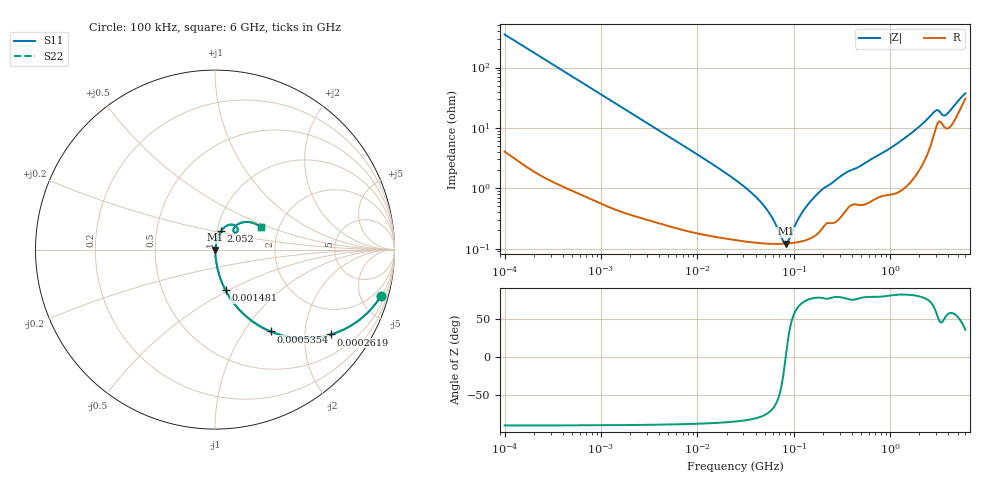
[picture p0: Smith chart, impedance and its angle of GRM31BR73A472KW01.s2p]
!Murata Part Number: GRM31BR73A472KW01
!These Parameters are Measured in Series Mode Connection
!Data Generated on Mar 30, 2021
!  o--ll--o
!Port1  Port2
!  o------o
!Operation Temp=25[degC], DC Bias Voltage=0[V]
!Freq. Start=100[kHz] Stop=6[GHz] 401[Steps]
# Hz S RI R 50
!Freq.(Hz) S11(Real) S11(Imag) S21(Real) S21(Imag) S12(Real) S12(Imag) S22(Real) S22(Imag)
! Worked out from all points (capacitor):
!   401 points, 100 kHz to 6 GHz, reference 50 ohm
!   read as one part in series: C = 4.5 nF near 105.7 kHz
!   lowest |Z| = 121 mohm at 82.16 MHz (marker M1)
!   series resonance near 82.22 MHz, so ESL is about 830 pH
!   S11 on the Smith chart (normalised r, x): 100 kHz: 1.08, -7.06; 261.9 kHz: 1.03, -2.71; 535.4 kHz: 1.02, -1.33; 1.481 MHz: 1.01, -0.48; 2.052 GHz: 1.04, +0.21; 6 GHz: 1.61, +0.44
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100000  0.9232 -0.2606  0.0768 0.2606  0.0768 0.2606  0.9232 -0.2606
164065  0.8207 -0.3782  0.1793 0.3782  0.1793 0.3782  0.8207 -0.3782
261871  0.6462 -0.4727  0.3538 0.4727  0.3538 0.4727  0.6462 -0.4727
535387  0.3096 -0.4559  0.6904 0.4559  0.6904 0.4559  0.3096 -0.4559
631452  0.2452 -0.4235  0.7548 0.4235  0.7548 0.4235  0.2452 -0.4235
1481314  0.0591 -0.2271  0.9409 0.2271  0.9409 0.2271  0.0591 -0.2271
3987316  0.0107 -0.0895  0.9893 0.0895  0.9893 0.0895  0.0107 -0.0895
2.517799e7  0.00155 -0.0133  0.9984 0.0133  0.9984 0.0133  0.00155 -0.0133
4.872031e7  0.00124 -0.005  0.9988 0.005  0.9988 0.005  0.00124 -0.005
6.07118e7  0.0012 -0.00282  0.9988 0.00282  0.9988 0.00282  0.0012 -0.00282
7.776452e7  0.0012 -0.000512  0.9988 0.000512  0.9988 0.000512  0.0012 -0.000512
8.216224e7  0.00121 -6.3e-06  0.9988 6.3e-06  0.9988 6.3e-06  0.00121 -6.3e-06
8.922949e7  0.00122 0.000754  0.9988 -0.000754  0.9988 -0.000754  0.00122 0.000754
1.174795e8  0.00131 0.00338  0.9987 -0.00338  0.9987 -0.00338  0.00131 0.00338
1.546735e8  0.00156 0.00632  0.9984 -0.00632  0.9984 -0.00632  0.00156 0.00632
3.250433e8  0.00399 0.0164  0.996 -0.0164  0.996 -0.0164  0.00399 0.0164
9.76689e8  0.00963 0.0437  0.9904 -0.0437  0.9904 -0.0437  0.00963 0.0437
2.052492e9  0.0316 0.1015  0.9684 -0.1015  0.9684 -0.1015  0.0316 0.1015
2.934752e9  0.1068 0.1367  0.8932 -0.1367  0.8932 -0.1367  0.1068 0.1367
3.759065e9  0.1024 0.1066  0.8976 -0.1066  0.8976 -0.1066  0.1024 0.1066
4.949184e9  0.1684 0.1537  0.8316 -0.1537  0.8316 -0.1537  0.1684 0.1537
6e9  0.2542 0.1245  0.7458 -0.1245  0.7458 -0.1245  0.2542 0.1245
